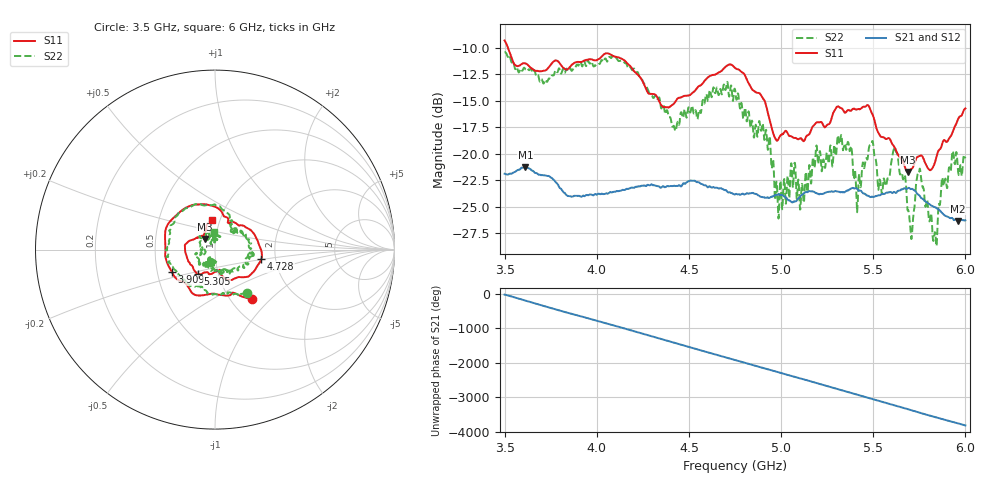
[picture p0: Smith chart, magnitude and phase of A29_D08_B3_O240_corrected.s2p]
! Created with skrf 1.9.0 (http://scikit-rf.org).
# Hz S RI R 50.0
!freq ReS11 ImS11 ReS21 ImS21 ReS12 ImS12 ReS22 ImS22
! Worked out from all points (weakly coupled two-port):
!   1601 points, 3.5 GHz to 6 GHz, reference 50 ohm
!   highest |S21| = -21.27 dB at 3.612 GHz (marker M1); lowest = -26.4 dB at 5.959 GHz (marker M2)
!   lowest |S11| = -21.7 dB at 5.686 GHz (marker M3), VSWR 1.18, Z = 44.3 + j5.26 ohm
!   |S11| at or under -10 dB: 3.518 GHz to end of sweep
!   |S22| runs from -28.7 to -10.4 dB; largest |S21 - S12| = 0.0011
!   S11 on the Smith chart (normalised r, x): 3.5 GHz: 1.26, -0.78; 3.909 GHz: 0.60, -0.16; 4.728 GHz: 1.68, -0.19; 5.305 GHz: 0.80, -0.22; 6 GHz: 0.92, +0.31
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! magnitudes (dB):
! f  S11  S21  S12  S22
! 3.5 GHz  -9.3  -21.9  -21.9  -10.4
! 3.612 GHz  -11.5  -21.3  -21.3  -12.0
! 3.909 GHz  -11.3  -24.0  -24.0  -11.3
! 3.917 GHz  -11.3  -24.1  -24.1  -11.6
! 4.334 GHz  -14.9  -23.1  -23.0  -14.7
! 4.42 GHz  -15.2  -23.0  -23.0  -17.5
! 4.728 GHz  -11.6  -23.7  -23.6  -13.6
! 4.75 GHz  -11.9  -23.9  -23.8  -13.9
! 4.928 GHz  -16.1  -24.1  -24.1  -19.6
! 4.978 GHz  -18.8  -23.9  -23.9  -23.0
! 5.167 GHz  -17.6  -23.6  -23.5  -21.8
! 5.305 GHz  -15.6  -23.6  -23.5  -18.7
! 5.419 GHz  -15.8  -23.5  -23.5  -23.2
! 5.487 GHz  -16.0  -24.1  -24.1  -19.2
! 5.584 GHz  -18.5  -23.7  -23.6  -22.3
! 5.62 GHz  -19.5  -23.7  -23.7  -19.6
! 5.686 GHz  -21.7  -23.3  -23.3  -25.3
! 5.709 GHz  -21.4  -23.3  -23.3  -27.8
! 5.752 GHz  -20.2  -24.0  -24.0  -21.4
! 5.834 GHz  -20.9  -25.1  -25.0  -27.4
! 5.959 GHz  -16.8  -26.4  -26.3  -21.5
! 6 GHz  -15.7  -26.3  -26.3  -20.3
